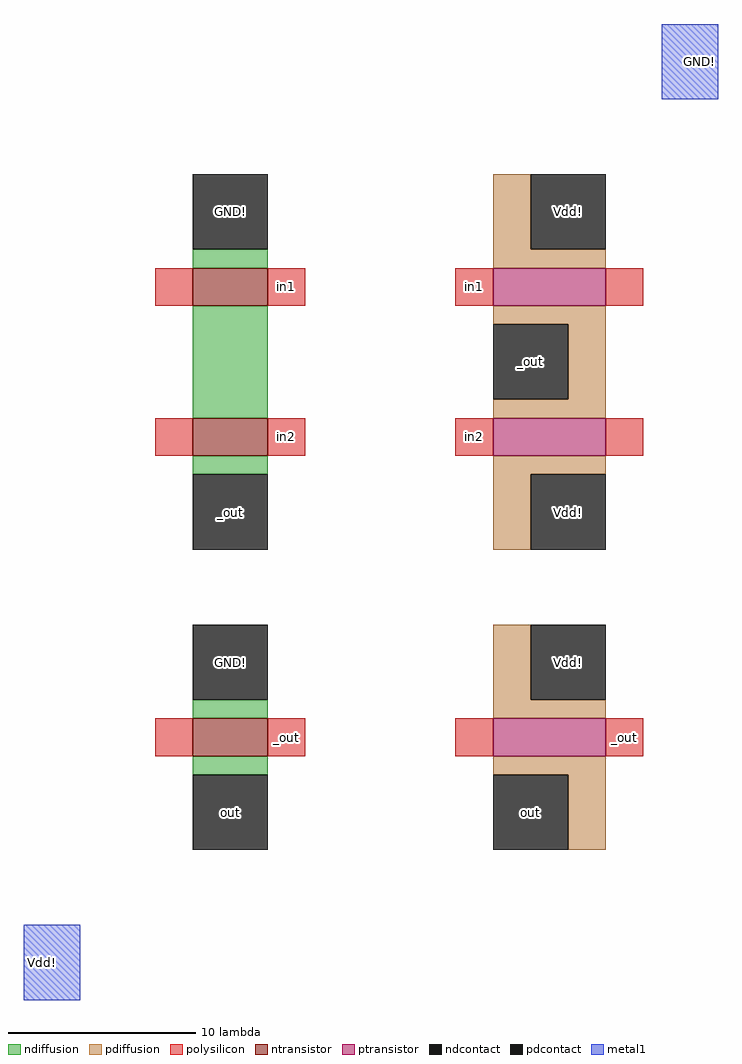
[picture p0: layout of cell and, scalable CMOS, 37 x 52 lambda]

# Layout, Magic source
magic
tech scmos
<< ntransistor >>
rect 65 28 69 30
rect 65 20 69 22
rect 65 4 69 6
<< ptransistor >>
rect 81 28 87 30
rect 81 20 87 22
rect 81 4 87 6
<< ndiffusion >>
rect 65 30 69 31
rect 65 22 69 28
rect 65 19 69 20
rect 65 6 69 7
rect 65 3 69 4
<< pdiffusion >>
rect 81 31 83 35
rect 81 30 87 31
rect 81 27 87 28
rect 85 23 87 27
rect 81 22 87 23
rect 81 19 87 20
rect 81 15 83 19
rect 81 7 83 11
rect 81 6 87 7
rect 81 3 87 4
rect 85 -1 87 3
<< ndcontact >>
rect 65 31 69 35
rect 65 15 69 19
rect 65 7 69 11
rect 65 -1 69 3
<< pdcontact >>
rect 83 31 87 35
rect 81 23 85 27
rect 83 15 87 19
rect 83 7 87 11
rect 81 -1 85 3
<< polysilicon >>
rect 63 28 65 30
rect 69 28 71 30
rect 79 28 81 30
rect 87 28 89 30
rect 63 20 65 22
rect 69 20 71 22
rect 79 20 81 22
rect 87 20 89 22
rect 63 4 65 6
rect 69 4 71 6
rect 79 4 81 6
rect 87 4 89 6
<< metal1 >>
rect 90 39 93 43
rect 56 -9 59 -5
<< labels >>
rlabel pdcontact 85 33 85 33 3 Vdd!
rlabel pdcontact 85 17 85 17 3 Vdd!
rlabel pdcontact 85 9 85 9 3 Vdd!
rlabel ndcontact 67 33 67 33 3 GND!
rlabel ndcontact 67 9 67 9 3 GND!
rlabel metal1 92 41 92 41 6 GND!
rlabel metal1 57 -7 57 -7 2 Vdd!
rlabel ndcontact 67 1 67 1 3 out
rlabel pdcontact 83 1 83 1 3 out
rlabel polysilicon 88 5 88 5 3 _out
rlabel pdcontact 83 25 83 25 3 _out
rlabel ndcontact 67 17 67 17 3 _out
rlabel polysilicon 70 5 70 5 3 _out
rlabel polysilicon 70 29 70 29 3 in1
rlabel polysilicon 70 21 70 21 3 in2
rlabel polysilicon 80 29 80 29 1 in1
rlabel polysilicon 80 21 80 21 1 in2
<< end >>
